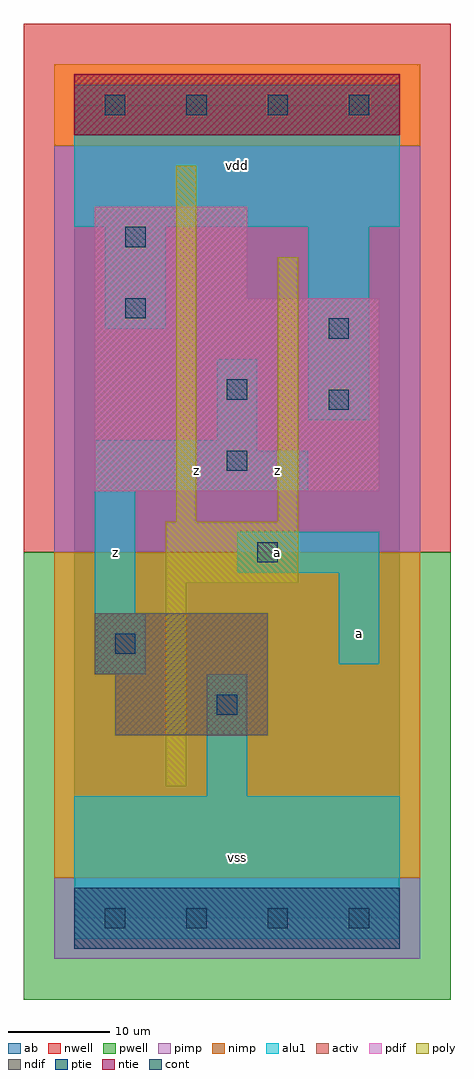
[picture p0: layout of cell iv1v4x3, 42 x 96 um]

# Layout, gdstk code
import gdstk
lib = gdstk.Library(unit=1e-6, precision=1e-09)
def R(c, l, rs):  # rectangles x0, y0, x1, y1
    for r in rs: c.add(gdstk.rectangle(r[:2], r[2:], *l))
def A(c, l, x, y, w, h, nx, ny, dx, dy):  # array of equal rectangles
    R(c, l, [(x+i*dx, y+j*dy, x+i*dx+w, y+j*dy+h) for i in range(nx) for j in range(ny)])
ndif = (3, 0)
pdif = (4, 0)
ntie = (5, 0)
ptie = (6, 0)
cont = (25, 0)
pwell = (41, 0)
nwell = (42, 0)
activ = (43, 0)
pimp = (44, 0)
nimp = (45, 0)
poly = (46, 0)
alu1 = (49, 0)
ab = (63, 0)

iv1v4x3 = lib.new_cell('iv1v4x3')
R(iv1v4x3, ndif, [(4,18,19,24), (2,24,19,30)])
R(iv1v4x3, pdif, [(2,42,30,61), (2,61,17,70)])
R(iv1v4x3, ntie, [(0,77,32,83)])
R(iv1v4x3, ptie, [(0,-3,32,3)])
A(iv1v4x3, cont, 3, -1, 2, 2, 4, 2, 8, 80)
R(iv1v4x3, cont, [(14,20,16,22), (4,26,6,28), (18,35,20,37), (15,44,17,46), (25,50,27,52), (15,51,17,53), (25,57,27,59), (5,59,7,61), (5,66,7,68)])
R(iv1v4x3, pwell, [(-5,-8,37,36)])
R(iv1v4x3, nwell, [(-5,36,37,88)])
R(iv1v4x3, activ, [(0,-3,32,3), (4,18,19,24), (2,24,19,30), (2,42,30,61), (2,61,17,70), (0,77,32,83)])
R(iv1v4x3, pimp, [(-2,-4,34,4), (-2,36,34,76)])
R(iv1v4x3, nimp, [(-2,4,34,36), (-2,76,34,84)])
R(iv1v4x3, poly, [(9,13,11,33), (9,33,22,39), (10,39,12,74), (20,39,22,65)])
R(iv1v4x3, alu1, [(0,-2,32,12), (13,12,17,24), (2,24,7,30), (26,25,30,34), (2,30,6,42), (16,34,30,38), (2,42,23,46), (2,46,18,47), (14,47,18,55), (23,49,29,68), (3,58,9,68), (0,68,32,82)])
R(iv1v4x3, ab, [(0,0,32,80)])
iv1v4x3.add(gdstk.Label('z', (4,36), layer=49, texttype=0))
iv1v4x3.add(gdstk.Label('z', (12,44), layer=49, texttype=0))
iv1v4x3.add(gdstk.Label('vss', (16,6), layer=49, texttype=0))
iv1v4x3.add(gdstk.Label('a', (20,36), layer=49, texttype=0))
iv1v4x3.add(gdstk.Label('z', (20,44), layer=49, texttype=0))
iv1v4x3.add(gdstk.Label('vdd', (16,74), layer=49, texttype=0))
iv1v4x3.add(gdstk.Label('a', (28,28), layer=49, texttype=0))

lib.write_gds('iv1v4x3.gds')
